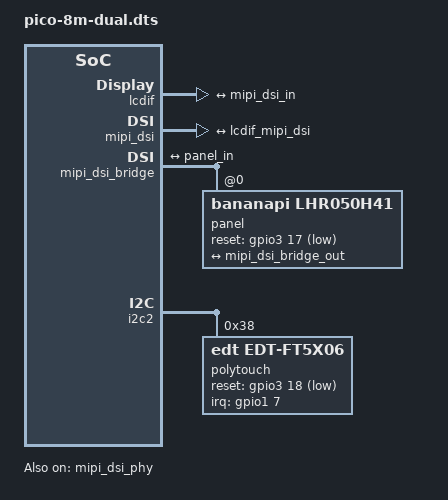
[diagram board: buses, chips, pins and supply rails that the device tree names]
/*
 * Copyright 2018 Technexion Ltd.
 *
 * Author: Richard Hu <richard.hu@technexion.com>, Po Cheng <po.cheng@technexion.com>
 *
 * This program is free software; you can redistribute it and/or
 * modify it under the terms of the GNU General Public License
 * as published by the Free Software Foundation; either version 2
 * of the License, or (at your option) any later version.
 *
 * This program is distributed in the hope that it will be useful,
 * but WITHOUT ANY WARRANTY; without even the implied warranty of
 * MERCHANTABILITY or FITNESS FOR A PARTICULAR PURPOSE.  See the
 * GNU General Public License for more details.
 */

#include "pico-8m.dts"

/ {
	backlight_mipi {
		status = "okay";
	};
};

&lcdif {
	status = "okay";

	assigned-clocks = <&clk IMX8MQ_CLK_LCDIF_PIXEL_SRC>,
			<&clk IMX8MQ_VIDEO_PLL1_REF_SEL>,
			<&clk IMX8MQ_VIDEO_PLL1>;
	assigned-clock-parents = <&clk IMX8MQ_VIDEO_PLL1_OUT>,
			<&clk IMX8MQ_CLK_25M>;
	assigned-clock-rate = <120000000>,
			<0>,
			<599999999>;

	/* important to overwrite max-res otherwise DRM lcdif will fail to find a suitable connector */
	max-res = <4096>, <4096>;

	port@0 {
		lcdif_mipi_dsi: mipi-dsi-endpoint {
			remote-endpoint = <&mipi_dsi_in>;
		};
	};
};

&mipi_dsi_phy {
	status = "okay";
};

&mipi_dsi {
	status = "okay";
	as_bridge;
	sync-pol = <1>;
	pwr-delay = <50>;
	best-match;

	assigned-clocks = <&clk IMX8MQ_CLK_DSI_PHY_REF_SRC>,
			  <&clk IMX8MQ_CLK_DSI_CORE_SRC>,
			  <&clk IMX8MQ_VIDEO_PLL1_REF_SEL>,
			  <&clk IMX8MQ_VIDEO_PLL1>;
	assigned-clock-parents = <&clk IMX8MQ_VIDEO_PLL1_OUT>,
				 <&clk IMX8MQ_SYS1_PLL_266M>,
				 <&clk IMX8MQ_CLK_25M>;
	assigned-clock-rates = <24000000>,
			       <266000000>,
			       <0>,
			       <599999999>;

	port@1 {
		mipi_dsi_in: lcdif-endpoint {
			remote-endpoint = <&lcdif_mipi_dsi>;
		};
	};
};

&mipi_dsi_bridge {
	status = "okay";

	panel@0 {
		compatible = "bananapi,lhr050h41", "ilitek,ili9881c";
		pinctrl-0 = <&pinctrl_mipi_dsi_rst>;
		reset-gpio = <&gpio3 17 GPIO_ACTIVE_LOW>;
		reg = <0>;
		dsi-lanes = <4>;
		port {
			panel_in: endpoint {
				remote-endpoint = <&mipi_dsi_bridge_out>;
			};
		};
	};

	port@1 {
		mipi_dsi_bridge_out: endpoint {
			remote-endpoint = <&panel_in>;
		};
	};
};

&i2c2 {
	polytouch: edt-ft5x06@38 {
		status = "okay";
		compatible = "edt,edt-ft5x06";
		reg = <0x38>;
		pinctrl-names = "default";
		pinctrl-0 = <&pinctrl_ft5336_touch_irq &pinctrl_ft5336_touch_rst>;
		interrupt-parent = <&gpio1>;
		interrupts = <7 IRQ_TYPE_EDGE_FALLING>;
		reset-gpios = <&gpio3 18 GPIO_ACTIVE_LOW>;
		touchscreen-size-x = <720>;
		touchscreen-size-y = <1280>;
	};
};
